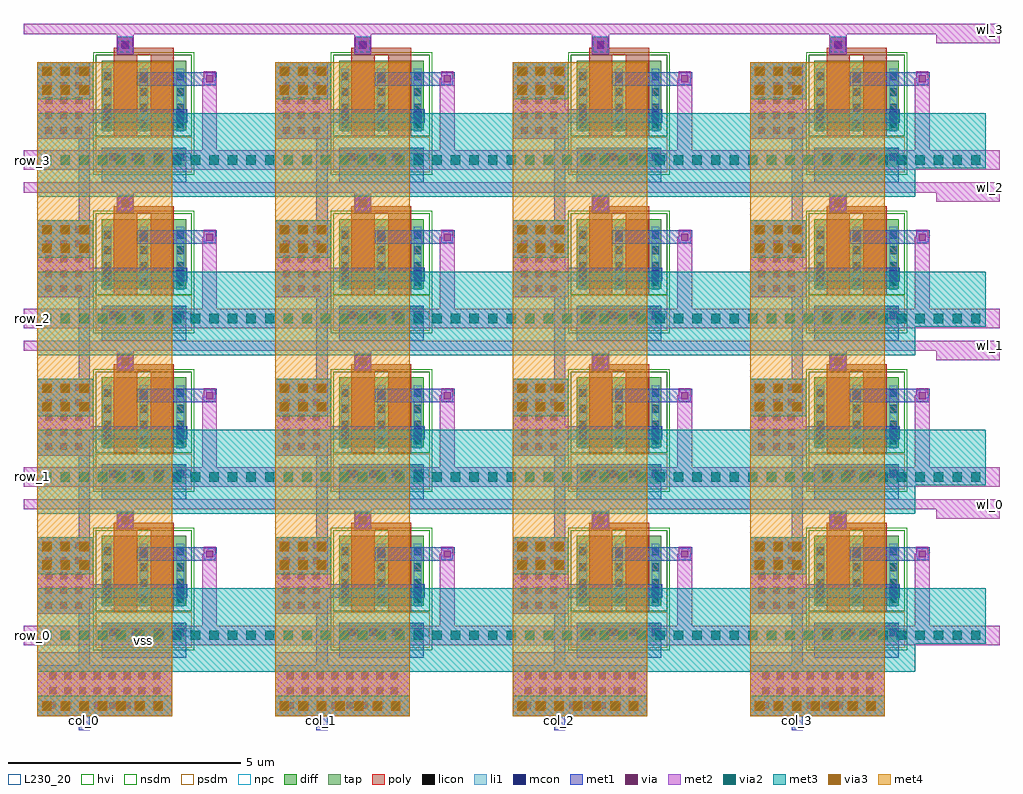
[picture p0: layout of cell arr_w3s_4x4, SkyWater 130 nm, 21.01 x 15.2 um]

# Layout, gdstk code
import gdstk
lib = gdstk.Library(unit=1e-6, precision=1e-09)
def R(c, l, rs):  # rectangles x0, y0, x1, y1
    for r in rs: c.add(gdstk.rectangle(r[:2], r[2:], *l))
def A(c, l, x, y, w, h, nx, ny, dx, dy):  # array of equal rectangles
    R(c, l, [(x+i*dx, y+j*dy, x+i*dx+w, y+j*dy+h) for i in range(nx) for j in range(ny)])
diff = (65, 20)
tap = (65, 44)
poly = (66, 20)
licon = (66, 44)
li1 = (67, 20)
mcon = (67, 44)
met1 = (68, 20)
via = (68, 44)
met2 = (69, 20)
via2 = (69, 44)
met3 = (70, 20)
via3 = (70, 44)
met4 = (71, 20)
hvi = (75, 20)
nsdm = (93, 44)
psdm = (94, 20)
npc = (95, 20)
L230_20 = (230, 20)

c1t1r_w3 = lib.new_cell('c1t1r_w3')
R(c1t1r_w3, diff, [(0.18,0.18,2,1.68)])
R(c1t1r_w3, tap, [(0.18,-0.6,2,-0.19)])
R(c1t1r_w3, poly, [(0.445,0.05,0.945,1.81), (1.235,0.05,1.735,1.81), (0.445,1.81,1.735,1.96), (0.525,1.855,0.855,2.185)])
A(c1t1r_w3, licon, 0.415, -0.48, 0.17, 0.17, 3, 1, 0.475, 0)
A(c1t1r_w3, licon, 0.22, 0.24, 0.17, 0.17, 3, 4, 0.785, 0.34)
R(c1t1r_w3, licon, [(1.79,-0.48,1.96,-0.31), (0.605,1.935,0.775,2.105)])
A(c1t1r_w3, li1, 0.22, 0.16, 0.17, 1.35, 3, 1, 0.785, 0)
R(c1t1r_w3, li1, [(0.27,-0.48,2.105,-0.31), (0.525,1.855,0.855,2.185)])
A(c1t1r_w3, mcon, 0.35, -0.48, 0.17, 0.17, 4, 1, 0.48, 0)
R(c1t1r_w3, mcon, [(0.22,0.405,0.39,0.575), (1.79,0.405,1.96,0.575), (1.005,1.205,1.175,1.375), (0.605,1.935,0.775,2.105)])
R(c1t1r_w3, met1, [(0.18,-0.94,2,-0.19), (-0.46,0.345,2.02,0.635), (0.945,1.145,2.665,1.435), (2.345,1.16,2.665,1.42), (0.53,1.86,0.85,2.18)])
R(c1t1r_w3, via, [(2.43,1.215,2.58,1.365), (0.615,1.945,0.765,2.095)])
R(c1t1r_w3, met2, [(2.345,-0.62,2.665,1.3), (2.375,1.13,2.635,1.45), (0.505,1.82,0.875,2.47)])
R(c1t1r_w3, hvi, [(0,-0.78,2.18,1.86)])
R(c1t1r_w3, nsdm, [(0.055,0.055,2.125,1.805)])
R(c1t1r_w3, psdm, [(0.055,-0.725,2.125,0.035)])
R(c1t1r_w3, npc, [(0.505,1.835,0.875,2.205)])
R(c1t1r_w3, L230_20, [(2.38,1.165,2.63,1.415)])

s1t1r_w3s = lib.new_cell('s1t1r_w3s')
R(s1t1r_w3s, met1, [(-1.2,0,-0.07,1.65)])
A(s1t1r_w3s, via, -1.03, 0.11, 0.15, 0.15, 3, 5, 0.32, 0.32)
R(s1t1r_w3s, met2, [(-1.2,0,0,1.65)])
A(s1t1r_w3s, via2, -1.1, 0.95, 0.2, 0.2, 3, 2, 0.4, 0.4)
R(s1t1r_w3s, met3, [(-1.2,0.85,0,1.65)])
A(s1t1r_w3s, via3, -1.1, 0.95, 0.2, 0.2, 3, 2, 0.4, 0.4)

s_col_w3s = lib.new_cell('s_col_w3s')
R(s_col_w3s, met1, [(-1.2,-2.2,1.7,-1.1)])
A(s_col_w3s, via, -0.945, -2.045, 0.15, 0.15, 8, 3, 0.32, 0.32)
R(s_col_w3s, met2, [(-1.2,-2.2,1.7,-0.83)])
A(s_col_w3s, via2, -1.1, -2.08, 0.2, 0.2, 7, 1, 0.4, 0)
R(s_col_w3s, met3, [(-1.2,-2.2,1.7,-1.76)])
A(s_col_w3s, via3, -1.1, -2.08, 0.2, 0.2, 7, 1, 0.4, 0)
R(s_col_w3s, met4, [(-1.2,-2.2,1.7,11.88)])

v2_w3s = lib.new_cell('v2_w3s')
R(v2_w3s, via2, [(0,0,0.2,0.2)])

arr_w3s_4x4 = lib.new_cell('arr_w3s_4x4')
A(arr_w3s_4x4, met1, -0.31, -2.5, 0.24, 13.365, 4, 1, 5.115, 0)
A(arr_w3s_4x4, met2, -1.5, -0.67, 21.01, 0.42, 1, 4, 0, 3.41)
A(arr_w3s_4x4, met2, 18.15, 2.05, 1.36, 0.42, 1, 4, 0, 3.41)
A(arr_w3s_4x4, met2, -1.5, 2.25, 21.01, 0.22, 1, 4, 0, 3.41)
A(arr_w3s_4x4, met3, -1.2, -1.25, 18.9, 1.8, 1, 4, 0, 3.41)
A(arr_w3s_4x4, met3, 17.7, -0.64, 1.51, 1.19, 1, 4, 0, 3.41)
r = gdstk.Reference(c1t1r_w3, (0,0)); r.repetition = gdstk.Repetition(4, 4, v1=(5.115,0), v2=(0,3.41)); arr_w3s_4x4.add(r)
r = gdstk.Reference(s1t1r_w3s, (0,0)); r.repetition = gdstk.Repetition(4, 4, v1=(5.115,0), v2=(0,3.41)); arr_w3s_4x4.add(r)
r = gdstk.Reference(s_col_w3s, (0,0)); r.repetition = gdstk.Repetition(4, 1, v1=(5.115,0), v2=(0,0)); arr_w3s_4x4.add(r)
r = gdstk.Reference(v2_w3s, (-1.1,-0.56)); r.repetition = gdstk.Repetition(51, 4, v1=(0.4,0), v2=(0,3.41)); arr_w3s_4x4.add(r)
arr_w3s_4x4.add(gdstk.Label('col_0', (-0.19,-2.3), layer=68, texttype=5))
arr_w3s_4x4.add(gdstk.Label('col_1', (4.925,-2.3), layer=68, texttype=5))
arr_w3s_4x4.add(gdstk.Label('col_2', (10.04,-2.3), layer=68, texttype=5))
arr_w3s_4x4.add(gdstk.Label('col_3', (15.155,-2.3), layer=68, texttype=5))
arr_w3s_4x4.add(gdstk.Label('vss', (1.09,-0.565), layer=68, texttype=5))
arr_w3s_4x4.add(gdstk.Label('row_0', (-1.3,-0.46), layer=69, texttype=5))
arr_w3s_4x4.add(gdstk.Label('wl_0', (19.31,2.36), layer=69, texttype=5))
arr_w3s_4x4.add(gdstk.Label('row_1', (-1.3,2.95), layer=69, texttype=5))
arr_w3s_4x4.add(gdstk.Label('wl_1', (19.31,5.77), layer=69, texttype=5))
arr_w3s_4x4.add(gdstk.Label('row_2', (-1.3,6.36), layer=69, texttype=5))
arr_w3s_4x4.add(gdstk.Label('wl_2', (19.31,9.18), layer=69, texttype=5))
arr_w3s_4x4.add(gdstk.Label('row_3', (-1.3,9.77), layer=69, texttype=5))
arr_w3s_4x4.add(gdstk.Label('wl_3', (19.31,12.59), layer=69, texttype=5))

lib.write_gds('arr_w3s_4x4.gds')
